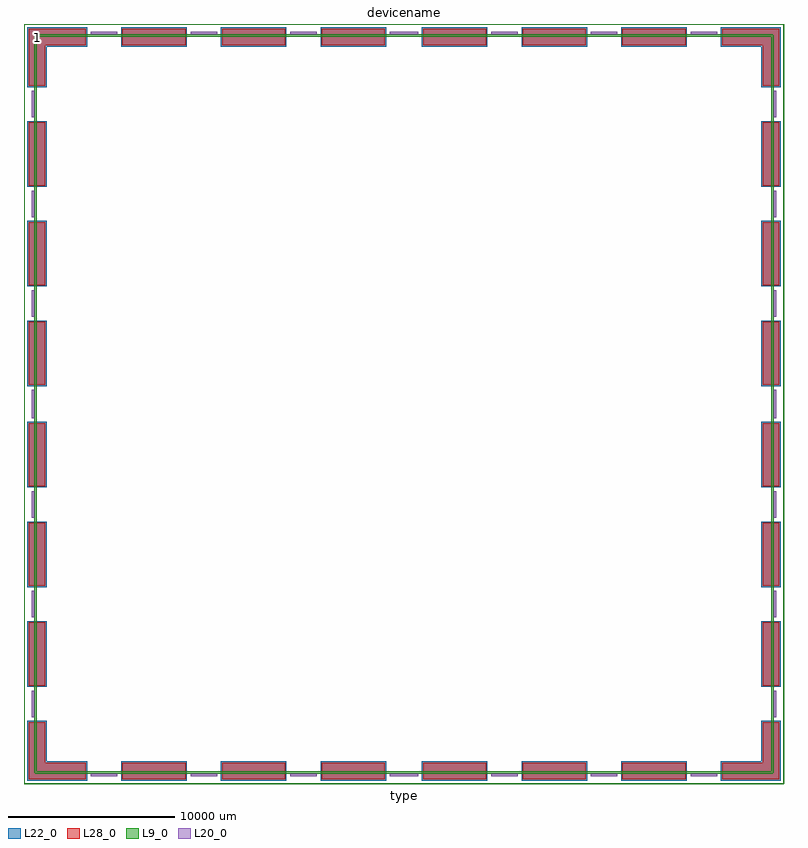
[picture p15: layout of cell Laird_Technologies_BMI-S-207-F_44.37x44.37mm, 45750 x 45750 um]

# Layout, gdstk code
import gdstk
lib = gdstk.Library(unit=1e-6, precision=1e-09)
def R(c, l, rs):  # rectangles x0, y0, x1, y1
    for r in rs: c.add(gdstk.rectangle(r[:2], r[2:], *l))
def A(c, l, x, y, w, h, nx, ny, dx, dy):  # array of equal rectangles
    R(c, l, [(x+i*dx, y+j*dy, x+i*dx+w, y+j*dy+h) for i in range(nx) for j in range(ny)])
L9_0 = (9, 0)
L20_0 = (20, 0)
L22_0 = (22, 0)
L28_0 = (28, 0)

laird_technologies_bmi_s = lib.new_cell('Laird_Technologies_BMI-S-207-F_44.37x44.37mm')
A(laird_technologies_bmi_s, L22_0, -17025, -22665, 3950, 1150, 3, 2, 6000, 44180)
A(laird_technologies_bmi_s, L22_0, 1075, -22665, 3950, 1150, 3, 2, 6000, 44180)
A(laird_technologies_bmi_s, L22_0, -22665, -17025, 1150, 3950, 1, 3, 0, 6000)
A(laird_technologies_bmi_s, L22_0, 21515, -17025, 1150, 3950, 1, 3, 0, 6000)
A(laird_technologies_bmi_s, L22_0, -22665, 1075, 1150, 3950, 1, 3, 0, 6000)
A(laird_technologies_bmi_s, L22_0, 21515, 1075, 1150, 3950, 1, 3, 0, 6000)
R(laird_technologies_bmi_s, L22_0, [(-22665,-22665,-21515,-21515), (-21665,-22665,-19075,-21515), (19075,-22665,21665,-21515), (21515,-22665,22665,-21515), (-22665,-21665,-21515,-19075), (21515,-21665,22665,-19075), (-22665,19075,-21515,21665), (21515,19075,22665,21665), (-22665,21515,-21515,22665), (-21665,21515,-19075,22665), (19075,21515,21665,22665), (21515,21515,22665,22665)])
A(laird_technologies_bmi_s, L28_0, -16950, -22590, 3800, 1000, 3, 2, 6000, 44180)
A(laird_technologies_bmi_s, L28_0, 1150, -22590, 3800, 1000, 3, 2, 6000, 44180)
A(laird_technologies_bmi_s, L28_0, -22590, -16950, 1000, 3800, 1, 3, 0, 6000)
A(laird_technologies_bmi_s, L28_0, 21590, -16950, 1000, 3800, 1, 3, 0, 6000)
A(laird_technologies_bmi_s, L28_0, -22590, 1150, 1000, 3800, 1, 3, 0, 6000)
A(laird_technologies_bmi_s, L28_0, 21590, 1150, 1000, 3800, 1, 3, 0, 6000)
R(laird_technologies_bmi_s, L28_0, [(-22590,-22590,-21590,-21590), (-21590,-22590,-19150,-21590), (19150,-22590,21590,-21590), (21590,-22590,22590,-21590), (-22590,-21590,-21590,-19150), (21590,-21590,22590,-19150), (-22590,19150,-21590,21590), (21590,19150,22590,21590), (-22590,21590,-21590,22590), (-21590,21590,-19150,22590), (19150,21590,21590,22590), (21590,21590,22590,22590)])
laird_technologies_bmi_s.add(gdstk.FlexPath([(22335,-17250),(22335,-18850)], 149.998, ends="flush", simple_path=True, layer=20, datatype=0))  # L20_0
laird_technologies_bmi_s.add(gdstk.FlexPath([(-22335,-17250),(-22335,-18850)], 149.998, ends="flush", simple_path=True, layer=20, datatype=0))  # L20_0
laird_technologies_bmi_s.add(gdstk.FlexPath([(22335,-11250),(22335,-12850)], 149.998, ends="flush", simple_path=True, layer=20, datatype=0))  # L20_0
laird_technologies_bmi_s.add(gdstk.FlexPath([(-22335,-11250),(-22335,-12850)], 149.998, ends="flush", simple_path=True, layer=20, datatype=0))  # L20_0
laird_technologies_bmi_s.add(gdstk.FlexPath([(22335,-5250),(22335,-6850)], 149.998, ends="flush", simple_path=True, layer=20, datatype=0))  # L20_0
laird_technologies_bmi_s.add(gdstk.FlexPath([(-22335,-5250),(-22335,-6850)], 149.998, ends="flush", simple_path=True, layer=20, datatype=0))  # L20_0
laird_technologies_bmi_s.add(gdstk.FlexPath([(22335,850),(22335,-850)], 149.998, ends="flush", simple_path=True, layer=20, datatype=0))  # L20_0
laird_technologies_bmi_s.add(gdstk.FlexPath([(-22335,850),(-22335,-850)], 149.998, ends="flush", simple_path=True, layer=20, datatype=0))  # L20_0
laird_technologies_bmi_s.add(gdstk.FlexPath([(22335,6850),(22335,5250)], 149.998, ends="flush", simple_path=True, layer=20, datatype=0))  # L20_0
laird_technologies_bmi_s.add(gdstk.FlexPath([(-22335,6850),(-22335,5250)], 149.998, ends="flush", simple_path=True, layer=20, datatype=0))  # L20_0
laird_technologies_bmi_s.add(gdstk.FlexPath([(22335,12850),(22335,11250)], 149.998, ends="flush", simple_path=True, layer=20, datatype=0))  # L20_0
laird_technologies_bmi_s.add(gdstk.FlexPath([(-22335,12850),(-22335,11250)], 149.998, ends="flush", simple_path=True, layer=20, datatype=0))  # L20_0
laird_technologies_bmi_s.add(gdstk.FlexPath([(22335,18850),(22335,17250)], 149.998, ends="flush", simple_path=True, layer=20, datatype=0))  # L20_0
laird_technologies_bmi_s.add(gdstk.FlexPath([(-22335,18850),(-22335,17250)], 149.998, ends="flush", simple_path=True, layer=20, datatype=0))  # L20_0
laird_technologies_bmi_s.add(gdstk.FlexPath([(17250,-22335),(18850,-22335)], 149.998, ends="flush", simple_path=True, layer=20, datatype=0))  # L20_0
laird_technologies_bmi_s.add(gdstk.FlexPath([(17250,22335),(18850,22335)], 149.998, ends="flush", simple_path=True, layer=20, datatype=0))  # L20_0
laird_technologies_bmi_s.add(gdstk.FlexPath([(11250,-22335),(12850,-22335)], 149.998, ends="flush", simple_path=True, layer=20, datatype=0))  # L20_0
laird_technologies_bmi_s.add(gdstk.FlexPath([(11250,22335),(12850,22335)], 149.998, ends="flush", simple_path=True, layer=20, datatype=0))  # L20_0
laird_technologies_bmi_s.add(gdstk.FlexPath([(5250,-22335),(6850,-22335)], 149.998, ends="flush", simple_path=True, layer=20, datatype=0))  # L20_0
laird_technologies_bmi_s.add(gdstk.FlexPath([(5250,22335),(6850,22335)], 149.998, ends="flush", simple_path=True, layer=20, datatype=0))  # L20_0
laird_technologies_bmi_s.add(gdstk.FlexPath([(-850,-22335),(850,-22335)], 149.998, ends="flush", simple_path=True, layer=20, datatype=0))  # L20_0
laird_technologies_bmi_s.add(gdstk.FlexPath([(-850,22335),(850,22335)], 149.998, ends="flush", simple_path=True, layer=20, datatype=0))  # L20_0
laird_technologies_bmi_s.add(gdstk.FlexPath([(-6850,-22335),(-5250,-22335)], 149.998, ends="flush", simple_path=True, layer=20, datatype=0))  # L20_0
laird_technologies_bmi_s.add(gdstk.FlexPath([(-6850,22335),(-5250,22335)], 149.998, ends="flush", simple_path=True, layer=20, datatype=0))  # L20_0
laird_technologies_bmi_s.add(gdstk.FlexPath([(-12850,-22335),(-11250,-22335)], 149.998, ends="flush", simple_path=True, layer=20, datatype=0))  # L20_0
laird_technologies_bmi_s.add(gdstk.FlexPath([(-12850,22335),(-11250,22335)], 149.998, ends="flush", simple_path=True, layer=20, datatype=0))  # L20_0
laird_technologies_bmi_s.add(gdstk.FlexPath([(-18850,-22335),(-17250,-22335)], 149.998, ends="flush", simple_path=True, layer=20, datatype=0))  # L20_0
laird_technologies_bmi_s.add(gdstk.FlexPath([(-18850,22335),(-17250,22335)], 149.998, ends="flush", simple_path=True, layer=20, datatype=0))  # L20_0
laird_technologies_bmi_s.add(gdstk.FlexPath([(22185,22185),(-22185,22185)], 149.998, ends="flush", simple_path=True, layer=9, datatype=0))  # L9_0
laird_technologies_bmi_s.add(gdstk.FlexPath([(22185,-22185),(22185,22185)], 149.998, ends="flush", simple_path=True, layer=9, datatype=0))  # L9_0
laird_technologies_bmi_s.add(gdstk.FlexPath([(-22185,-22185),(22185,-22185)], 149.998, ends="flush", simple_path=True, layer=9, datatype=0))  # L9_0
laird_technologies_bmi_s.add(gdstk.FlexPath([(-22185,22185),(-22185,-22185)], 149.998, ends="flush", simple_path=True, layer=9, datatype=0))  # L9_0
laird_technologies_bmi_s.add(gdstk.FlexPath([(22850,22850),(-22850,22850)], 50, ends="flush", simple_path=True, layer=9, datatype=0))  # L9_0
laird_technologies_bmi_s.add(gdstk.FlexPath([(22850,-22850),(22850,22850)], 50, ends="flush", simple_path=True, layer=9, datatype=0))  # L9_0
laird_technologies_bmi_s.add(gdstk.FlexPath([(-22850,-22850),(22850,-22850)], 50, ends="flush", simple_path=True, layer=9, datatype=0))  # L9_0
laird_technologies_bmi_s.add(gdstk.FlexPath([(-22850,22850),(-22850,-22850)], 50, ends="flush", simple_path=True, layer=9, datatype=0))  # L9_0
laird_technologies_bmi_s.add(gdstk.Label('1', (-22090,22090), layer=28, texttype=0))
laird_technologies_bmi_s.add(gdstk.Label('type', (0,-23590), layer=9, texttype=0))
laird_technologies_bmi_s.add(gdstk.Label('devicename', (0,23590), layer=9, texttype=0))

lib.write_gds('Laird_Technologies_BMI-S-207-F_44.37x44.37mm.gds')
